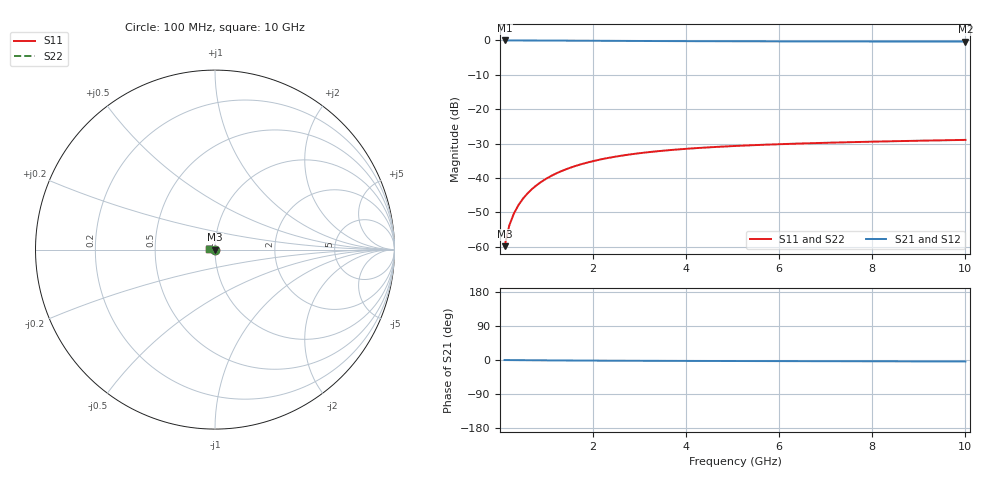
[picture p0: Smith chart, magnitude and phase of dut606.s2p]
! Touchstone file exported from HFSS 2024.1.0
!  File:  C:/UserFiles/LocalFiles/RDL_TSV_Batchsim/temp_TSV1_606_1779787792.aedt
!  Generated:  05:35:03 PM May 26, 2026
!  Design:  TSV1
!  Project:  temp_TSV1_606_1779787792
!  Setup:  Setup1
!  Solution:  Sweep
! Variables:
!  dtsv = 12.06um
!  hbump = 3um
!  htsv = 57.24um
!  lrdl = 252.1521522um
!  p = 40
!  p1 = 55.49um
!  t = 500um
!  trdl = 3um
!  wrdl = 24.89489489um
# GHz S MA R 50.000000
! Terminal data exported
! Port[1] = TSV22_T1
! Port[2] = TSV22_T2
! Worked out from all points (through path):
!   100 points, 100 MHz to 10 GHz, reference 50 ohm
!   highest |S21| = 0.00 dB at 100 MHz (marker M1); lowest = -0.3 dB at 10 GHz (marker M2)
!   lowest |S11| = -59.8 dB at 100 MHz (marker M3), VSWR 1.00, Z = 50 - j0.102 ohm
!   |S11| at or under -10 dB: start of sweep to end of sweep
!   |S22| runs from -59.8 to -28.9 dB; largest |S21 - S12| = 2.6e-15
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0.1  0.001019 -87.4  0.9999 -0.1  0.9999 -0.1  0.001019 -87.4
! Gamma 0 0 0 0
! Port Impedance 50 0 50 0
0.2  0.002033 -91.5  0.9998 -0.2  0.9998 -0.2  0.002033 -91.5
0.3  0.003047 -94.1  0.9996 -0.3  0.9996 -0.3  0.003047 -94.1
0.4  0.004056 -96.4  0.9993 -0.4  0.9993 -0.4  0.004056 -96.4
0.5  0.005056 -98.6  0.999 -0.5  0.999 -0.5  0.005056 -98.6
0.6  0.006043 -100.6  0.9986 -0.6  0.9986 -0.6  0.006043 -100.6
0.7  0.007015 -102.7  0.9982 -0.7  0.9982 -0.7  0.007015 -102.7
0.8  0.007969 -104.6  0.9977 -0.8  0.9977 -0.8  0.007969 -104.6
0.9  0.008903 -106.6  0.9972 -0.9  0.9972 -0.9  0.008903 -106.6
1.1  0.0107 -110.3  0.996 -1.0  0.996 -1.0  0.0107 -110.3
1.4  0.01323 -115.7  0.994 -1.3  0.994 -1.3  0.01323 -115.7
1.6  0.01478 -119.0  0.9925 -1.4  0.9925 -1.4  0.01478 -119.0
1.8  0.01623 -122.2  0.9911 -1.5  0.9911 -1.5  0.01623 -122.2
2.1  0.01821 -126.8  0.9888 -1.7  0.9888 -1.7  0.01821 -126.8
2.5  0.02051 -132.3  0.9859 -1.9  0.9859 -1.9  0.02051 -132.3
2.9  0.02248 -137.3  0.9832 -2.1  0.9832 -2.1  0.02248 -137.3
3.4  0.02454 -142.9  0.9802 -2.2  0.9802 -2.2  0.02454 -142.9
4.2  0.02712 -150.5  0.976 -2.5  0.976 -2.5  0.02712 -150.5
5.1  0.02929 -157.8  0.9724 -2.7  0.9724 -2.7  0.02929 -157.8
6.7  0.03205 -168.1  0.9679 -3.1  0.9679 -3.1  0.03205 -168.1
8.4  0.03416 -176.8  0.9649 -3.5  0.9649 -3.5  0.03416 -176.8
10  0.03579 176.4  0.9629 -3.9  0.9629 -3.9  0.03579 176.4
